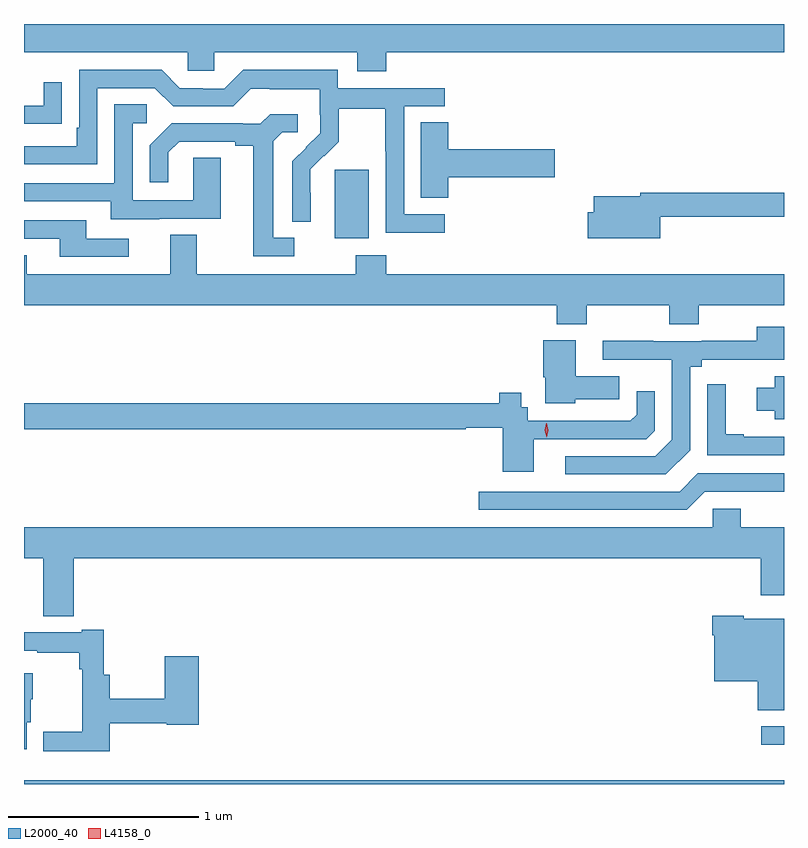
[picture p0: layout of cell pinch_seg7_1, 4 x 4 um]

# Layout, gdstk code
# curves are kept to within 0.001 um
import gdstk
lib = gdstk.Library(unit=1e-6, precision=1e-09)
def R(c, l, rs):  # rectangles x0, y0, x1, y1
    for r in rs: c.add(gdstk.rectangle(r[:2], r[2:], *l))
def P(c, l, *ps):  # polygons
    for p in ps: c.add(gdstk.Polygon(p, *l))
L2000_40 = (2000, 40)
L4158_0 = (4158, 0)

pinch_seg7_1 = lib.new_cell('pinch_seg7_1')
R(pinch_seg7_1, L2000_40, [(1102.99,1072.689,1106.99,1072.708), (1106.871,1072.896,1106.99,1072.992), (1104.626,1075.562,1104.805,1075.923)])
P(pinch_seg7_1, L2000_40, [(1106.99,1076.689),(1102.99,1076.689),(1102.99,1076.54),(1103.853,1076.54),(1103.853,1076.442),(1103.991,1076.442),(1103.991,1076.54),(1104.743,1076.54),(1104.743,1076.441),(1104.896,1076.441),(1104.896,1076.54),(1106.99,1076.54)],
  [(1105.204,1075.689),(1104.99,1075.689),(1104.99,1076.256),(1105.204,1076.256),(1105.204,1076.352),(1104.642,1076.352),(1104.642,1076.449),(1104.145,1076.449),(1104.045,1076.349),(1103.93,1076.349),(1103.93,1076.352),(1103.811,1076.352),(1103.715,1076.448),(1103.28,1076.448),(1103.28,1076.143),(1103.267,1076.143),(1103.267,1076.046),(1102.99,1076.046),(1102.99,1075.95),(1103.376,1075.95),(1103.376,1076.352),(1103.679,1076.352),(1103.775,1076.256),(1104.09,1076.256),(1104.183,1076.349),(1104.283,1076.349),(1104.283,1076.345),(1104.546,1076.345),(1104.546,1076.211),(1104.548,1076.211),(1104.548,1076.114),(1104.402,1075.966),(1104.402,1075.648),(1104.498,1075.648),(1104.497,1075.925),(1104.567,1075.995),(1104.57,1075.992),(1104.647,1076.069),(1104.647,1076.244),(1104.892,1076.244),(1104.892,1076.02),(1104.894,1076.02),(1104.894,1075.591),(1105.204,1075.591)],
  [(1103.087,1076.164),(1103.189,1076.164),(1103.189,1076.383),(1103.093,1076.383),(1103.093,1076.259),(1102.99,1076.259),(1102.99,1076.163),(1103.087,1076.163)],
  [(1103.701,1075.665),(1104.025,1075.665),(1104.025,1075.985),(1103.88,1075.985),(1103.88,1075.761),(1103.562,1075.761),(1103.562,1076.166),(1103.635,1076.166),(1103.635,1076.267),(1103.466,1076.267),(1103.466,1075.851),(1102.99,1075.851),(1102.99,1075.755),(1103.447,1075.755),(1103.447,1075.661),(1103.701,1075.661)],
  [(1104.412,1075.563),(1104.301,1075.563),(1104.301,1076.071),(1104.348,1076.118),(1104.43,1076.118),(1104.43,1076.215),(1104.286,1076.215),(1104.234,1076.163),(1104.14,1076.163),(1104.14,1076.166),(1103.768,1076.166),(1103.652,1076.05),(1103.652,1075.857),(1103.749,1075.857),(1103.749,1076.013),(1103.806,1076.07),(1104.101,1076.07),(1104.101,1076.048),(1104.197,1076.048),(1104.197,1075.467),(1104.412,1075.467)],
  [(1105.223,1075.883),(1105.783,1075.883),(1105.783,1076.03),(1105.223,1076.03),(1105.223,1076.171),(1105.079,1076.171),(1105.079,1075.774),(1105.223,1075.774)],
  [(1106.338,1075.674),(1106.99,1075.674),(1106.99,1075.802),(1106.234,1075.802),(1106.234,1075.783),(1105.988,1075.783),(1105.988,1075.697),(1105.958,1075.697),(1105.958,1075.562),(1106.338,1075.562)],
  [(1103.542,1075.56),(1103.317,1075.56),(1103.317,1075.656),(1102.99,1075.656),(1102.99,1075.56),(1103.177,1075.56),(1103.177,1075.464),(1103.542,1075.464)],
  [(1105.953,1075.208),(1106.386,1075.208),(1106.386,1075.109),(1106.541,1075.109),(1106.541,1075.208),(1106.99,1075.208),(1106.99,1075.372),(1104.896,1075.372),(1104.896,1075.471),(1104.736,1075.471),(1104.736,1075.372),(1103.899,1075.372),(1103.899,1075.58),(1103.759,1075.58),(1103.759,1075.372),(1103.005,1075.372),(1103.005,1075.471),(1102.99,1075.471),(1102.99,1075.208),(1105.793,1075.208),(1105.793,1075.109),(1105.953,1075.109)],
  [(1106.496,1074.446),(1106.496,1074.884),(1106.556,1074.884),(1106.556,1074.923),(1106.99,1074.923),(1106.99,1075.096),(1106.846,1075.096),(1106.846,1075.022),(1106.556,1075.022),(1106.556,1075.02),(1106.303,1075.02),(1106.303,1075.022),(1106.037,1075.022),(1106.037,1074.923),(1106.4,1074.923),(1106.4,1074.501),(1106.313,1074.414),(1105.839,1074.414),(1105.839,1074.318),(1106.368,1074.318)],
  [(1105.89,1074.713),(1106.122,1074.713),(1106.122,1074.835),(1105.894,1074.835),(1105.894,1075.024),(1105.724,1075.024),(1105.724,1074.831),(1105.733,1074.831),(1105.733,1074.692),(1105.89,1074.692)],
  [(1106.99,1074.835),(1106.942,1074.835),(1106.942,1074.775),(1106.846,1074.775),(1106.846,1074.653),(1106.942,1074.653),(1106.942,1074.608),(1106.99,1074.608)],
  [(1106.99,1074.516),(1106.779,1074.516),(1106.779,1074.529),(1106.683,1074.529),(1106.683,1074.793),(1106.586,1074.793),(1106.586,1074.42),(1106.99,1074.42)],
  [(1105.672,1074.504),(1106.265,1074.504),(1106.31,1074.549),(1106.31,1074.757),(1106.214,1074.757),(1106.214,1074.632),(1106.182,1074.6),(1105.642,1074.6),(1105.642,1074.673),(1105.608,1074.673),(1105.608,1074.748),(1105.492,1074.748),(1105.492,1074.692),(1102.99,1074.692),(1102.99,1074.556),(1105.315,1074.556),(1105.315,1074.564),(1105.511,1074.564),(1105.511,1074.333),(1105.672,1074.333)],
  [(1106.574,1074.228),(1106.851,1074.228),(1106.851,1074.227),(1106.99,1074.227),(1106.99,1074.324),(1106.537,1074.324),(1106.441,1074.228),(1105.383,1074.228),(1105.383,1074.132),(1106.478,1074.132)],
  [(1103.252,1073.876),(1106.867,1073.876),(1106.867,1073.682),(1106.99,1073.682),(1106.99,1074.04),(1106.763,1074.04),(1106.763,1074.138),(1106.616,1074.138),(1106.616,1074.04),(1102.99,1074.04),(1102.99,1073.876),(1103.092,1073.876),(1103.092,1073.572),(1103.252,1073.572)],
  [(1106.99,1073.56),(1106.778,1073.56),(1106.778,1073.575),(1106.612,1073.575),(1106.612,1073.471),(1106.624,1073.471),(1106.624,1073.231),(1106.852,1073.231),(1106.852,1073.077),(1106.99,1073.077)],
  [(1103.442,1073.01),(1103.742,1073.01),(1103.742,1073.002),(1103.909,1073.002),(1103.909,1073.362),(1103.731,1073.362),(1103.731,1073.138),(1103.442,1073.138),(1103.442,1073.263),(1103.41,1073.263),(1103.41,1073.5),(1103.294,1073.5),(1103.294,1073.487),(1102.99,1073.487),(1102.99,1073.391),(1103.059,1073.391),(1103.059,1073.379),(1103.281,1073.379),(1103.281,1073.294),(1103.296,1073.294),(1103.296,1072.964),(1103.091,1072.964),(1103.091,1072.862),(1103.442,1072.862)],
  [(1103.005,1073.013),(1103.026,1073.013),(1103.026,1073.136),(1103.035,1073.136),(1103.035,1073.272),(1102.99,1073.272),(1102.99,1072.872),(1103.005,1072.872)])
P(pinch_seg7_1, L4158_0, [(1105.741,1074.515),(1105.741,1074.515),(1105.73,1074.551),(1105.739,1074.587),(1105.739,1074.587),(1105.74,1074.587),(1105.75,1074.551),(1105.741,1074.515)])

lib.write_gds('pinch_seg7_1.gds')
